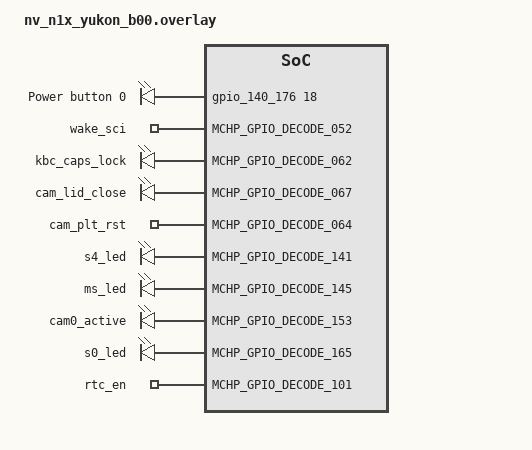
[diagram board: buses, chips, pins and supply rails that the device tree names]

/ {
	pins {
		compatible = "gpio-leds";

		pwr_btn_0: pwr_btn_0 {
            gpios = <&gpio_140_176 18 GPIO_ACTIVE_HIGH>;
			label = "Power button 0";
        };

		wake_sci: wake_sci {
			gpios = <MCHP_GPIO_DECODE_052 GPIO_ACTIVE_HIGH>;
		};

		kbc_caps_lock: kbc_caps_lock {
			gpios = <MCHP_GPIO_DECODE_062 GPIO_ACTIVE_HIGH>;
		};

		cam_lid_close: cam_lid_close {
			gpios = <MCHP_GPIO_DECODE_067 GPIO_ACTIVE_HIGH>;
		};

		cam_plt_rst: cam_plt_rst {
			gpios = <MCHP_GPIO_DECODE_064 GPIO_ACTIVE_HIGH>;
		};

		s4_led: s4_led {
			gpios = <MCHP_GPIO_DECODE_141 GPIO_ACTIVE_HIGH>;
		};

		ms_led: ms_led {
			gpios = <MCHP_GPIO_DECODE_145 GPIO_ACTIVE_HIGH>;
		};

		cam0_active: cam0_active {
			gpios = <MCHP_GPIO_DECODE_153 GPIO_ACTIVE_HIGH>;
		};

		s0_led: s0_led {
			gpios = <MCHP_GPIO_DECODE_165 GPIO_ACTIVE_HIGH>;
		};

		rtc_en: rtc_en {
			gpios = <MCHP_GPIO_DECODE_101 GPIO_ACTIVE_HIGH>;
		};
	};

	pwr_btn_vci: pwr_btn_vci {
		compatible = "vnd,pinctrl-device";
		pinctrl-0 = <&gpio161_gpio161>;
		pinctrl-names = "default";
		status = "okay";
	};
};

&pcr {
	// xtal-single-ended;
	// internal-osc-disable;

	/* debug only, not using 32KHZ_IN pin */
	// pinctrl-0 = <&tst_clk_out_gpio060 &clk_32khz_out_gpio221>;
	pinctrl-0 = <&tst_clk_out_gpio060>;

	/* 32KHZ_IN is a clock source and no debug */
	/* pinctrl-0 = <&clk_32khz_in_gpio165>; */

	/* 32KHZ_IN is a clock source with debug */
	/* pinctrl-0 = <&clk_32khz_in_gpio165
			&tst_clk_out_gpio060
			&clk_32khz_out_gpio221>;
	*/
	pinctrl-names = "default";
};
